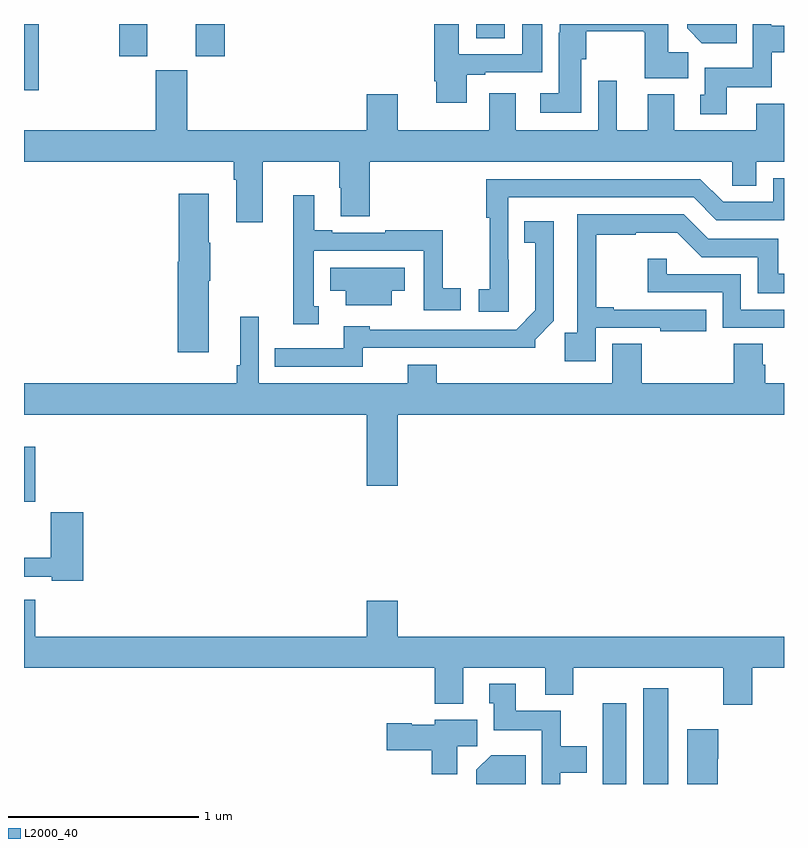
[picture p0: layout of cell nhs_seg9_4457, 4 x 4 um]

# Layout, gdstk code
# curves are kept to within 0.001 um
import gdstk
lib = gdstk.Library(unit=1e-6, precision=1e-09)
def R(c, l, rs):  # rectangles x0, y0, x1, y1
    for r in rs: c.add(gdstk.rectangle(r[:2], r[2:], *l))
def P(c, l, *ps):  # polygons
    for p in ps: c.add(gdstk.Polygon(p, *l))
L2000_40 = (2000, 40)

nhs_seg9_4457 = lib.new_cell('nhs_seg9_4457')
R(nhs_seg9_4457, L2000_40, [(370.046,1170.5,370.171,1170.925), (370.259,1170.5,370.39,1171.003), (367,1171.985,367.058,1172.275), (367,1174.151,367.078,1174.5), (367.501,1174.329,367.648,1174.5), (367.904,1174.329,368.057,1174.5), (369.38,1174.426,369.529,1174.5)])
P(nhs_seg9_4457, L2000_40, [(370.699,1174.166),(370.935,1174.166),(370.935,1174.352),(371,1174.352),(371,1174.492),(370.932,1174.492),(370.932,1174.5),(370.836,1174.5),(370.836,1174.27),(370.583,1174.27),(370.583,1174.128),(370.559,1174.128),(370.559,1174.026),(370.699,1174.026)],
  [(369.934,1174.314),(369.96,1174.314),(369.96,1174.463),(370.261,1174.463),(370.261,1174.456),(370.268,1174.456),(370.268,1174.214),(370.495,1174.214),(370.495,1174.352),(370.39,1174.352),(370.39,1174.5),(369.819,1174.5),(369.819,1174.454),(369.815,1174.454),(369.815,1174.135),(369.717,1174.135),(369.717,1174.034),(369.934,1174.034)],
  [(370.751,1174.5),(370.49,1174.5),(370.49,1174.478),(370.568,1174.4),(370.751,1174.4)],
  [(369.331,1174.233),(369.427,1174.233),(369.427,1174.245),(369.727,1174.245),(369.727,1174.5),(369.623,1174.5),(369.623,1174.341),(369.289,1174.341),(369.289,1174.5),(369.158,1174.5),(369.158,1174.198),(369.17,1174.198),(369.17,1174.086),(369.331,1174.086)],
  [(368.257,1173.776),(368.659,1173.776),(368.659,1173.638),(368.666,1173.638),(368.666,1173.487),(368.819,1173.487),(368.819,1173.776),(370.728,1173.776),(370.728,1173.649),(370.855,1173.649),(370.855,1173.776),(371,1173.776),(371,1174.081),(370.853,1174.081),(370.853,1173.94),(370.423,1173.94),(370.423,1174.129),(370.283,1174.129),(370.283,1173.94),(370.12,1173.94),(370.12,1174.201),(370.023,1174.201),(370.023,1173.94),(369.589,1173.94),(369.589,1174.135),(369.449,1174.135),(369.449,1173.94),(368.968,1173.94),(368.968,1174.129),(368.804,1174.129),(368.804,1173.94),(367.858,1173.94),(367.858,1174.257),(367.694,1174.257),(367.694,1173.94),(367,1173.94),(367,1173.776),(368.105,1173.776),(368.105,1173.68),(368.117,1173.68),(368.117,1173.456),(368.257,1173.456)],
  [(369.55,1173.26),(369.549,1173.588),(370.524,1173.588),(370.644,1173.468),(371,1173.468),(371,1173.687),(370.944,1173.687),(370.944,1173.564),(370.68,1173.564),(370.56,1173.684),(369.433,1173.684),(369.433,1173.481),(369.451,1173.481),(369.451,1173.105),(369.393,1173.105),(369.393,1172.985),(369.55,1172.985)],
  [(367.972,1173.149),(367.98,1173.149),(367.98,1173.349),(367.972,1173.349),(367.972,1173.607),(367.814,1173.607),(367.814,1173.249),(367.808,1173.249),(367.808,1172.772),(367.972,1172.772)],
  [(368.551,1173.015),(368.526,1173.015),(368.526,1173.306),(369.105,1173.306),(369.105,1172.994),(369.298,1172.994),(369.298,1173.11),(369.204,1173.11),(369.204,1173.415),(368.902,1173.415),(368.902,1173.402),(368.623,1173.402),(368.623,1173.415),(368.527,1173.415),(368.527,1173.598),(368.417,1173.598),(368.417,1173.353),(368.418,1173.353),(368.418,1172.921),(368.551,1172.921)],
  [(370.008,1172.901),(370.349,1172.901),(370.349,1172.882),(370.592,1172.882),(370.592,1172.997),(370.105,1172.997),(370.105,1173.01),(370.013,1173.01),(370.013,1173.39),(370.22,1173.39),(370.22,1173.401),(370.438,1173.401),(370.566,1173.273),(370.862,1173.273),(370.862,1173.082),(371,1173.082),(371,1173.186),(370.969,1173.186),(370.969,1173.369),(370.602,1173.369),(370.473,1173.498),(369.912,1173.498),(369.912,1172.875),(369.847,1172.875),(369.847,1172.724),(370.008,1172.724)],
  [(368.784,1172.796),(369.69,1172.795),(369.69,1172.839),(369.789,1172.938),(369.789,1173.463),(369.634,1173.463),(369.634,1173.35),(369.692,1173.35),(369.692,1172.993),(369.591,1172.892),(368.82,1172.892),(368.82,1172.908),(368.684,1172.908),(368.684,1172.793),(368.32,1172.793),(368.32,1172.697),(368.784,1172.697)],
  [(371,1172.997),(370.773,1172.997),(370.773,1173.183),(370.383,1173.183),(370.383,1173.265),(370.282,1173.265),(370.282,1173.087),(370.677,1173.087),(370.677,1172.901),(371,1172.901)],
  [(368.935,1173.095),(369.004,1173.095),(369.004,1173.217),(368.611,1173.217),(368.611,1173.095),(368.693,1173.095),(368.693,1173.02),(368.935,1173.02)],
  [(368.968,1172.444),(371,1172.444),(371,1172.608),(370.901,1172.608),(370.901,1172.706),(370.888,1172.706),(370.888,1172.816),(370.736,1172.816),(370.736,1172.608),(370.25,1172.608),(370.25,1172.816),(370.097,1172.816),(370.097,1172.608),(369.173,1172.608),(369.173,1172.707),(369.02,1172.707),(369.02,1172.608),(368.235,1172.608),(368.235,1172.959),(368.138,1172.959),(368.138,1172.704),(368.119,1172.704),(368.119,1172.608),(367,1172.608),(367,1172.444),(368.804,1172.444),(368.804,1172.07),(368.968,1172.07)],
  [(367.313,1171.93),(367.142,1171.93),(367.142,1171.691),(367,1171.691),(367,1171.59),(367.146,1171.59),(367.146,1171.57),(367.313,1171.57)],
  [(370.832,1171.112),(371,1171.112),(371,1171.276),(368.968,1171.276),(368.968,1171.465),(368.804,1171.465),(368.804,1171.276),(367.058,1171.276),(367.058,1171.471),(367,1171.471),(367,1171.112),(369.161,1171.112),(369.161,1170.923),(369.313,1170.923),(369.313,1171.112),(369.743,1171.112),(369.743,1170.971),(369.891,1170.971),(369.891,1171.112),(370.679,1171.112),(370.679,1170.918),(370.832,1170.918)],
  [(369.822,1170.56),(369.961,1170.56),(369.961,1170.7),(369.825,1170.7),(369.825,1170.886),(369.589,1170.886),(369.589,1171.027),(369.449,1171.027),(369.449,1170.924),(369.473,1170.924),(369.473,1170.782),(369.726,1170.782),(369.726,1170.5),(369.822,1170.5)],
  [(369.28,1170.7),(369.385,1170.7),(369.385,1170.838),(369.162,1170.838),(369.162,1170.811),(369.042,1170.811),(369.042,1170.819),(368.91,1170.819),(368.91,1170.677),(369.146,1170.677),(369.146,1170.552),(369.28,1170.552)],
  [(370.652,1170.633),(370.654,1170.633),(370.654,1170.787),(370.49,1170.787),(370.49,1170.5),(370.652,1170.5)],
  [(369.641,1170.652),(369.458,1170.652),(369.38,1170.574),(369.38,1170.5),(369.641,1170.5)])

lib.write_gds('nhs_seg9_4457.gds')
